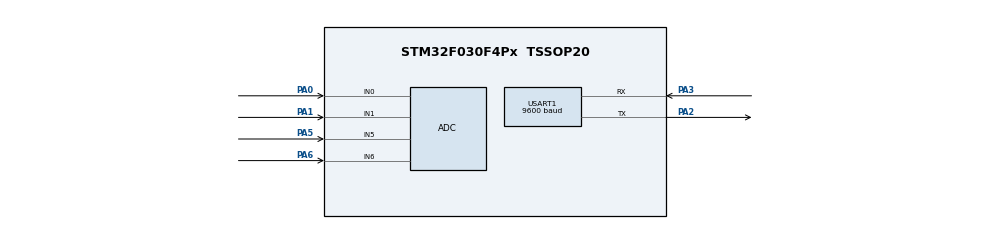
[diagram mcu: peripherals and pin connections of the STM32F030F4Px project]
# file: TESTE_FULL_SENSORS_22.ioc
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Mcu.Family=STM32F0
Mcu.Name=STM32F030F4Px
Mcu.Package=TSSOP20
NVIC.TIM14_IRQn=true\:0\:0\:false\:false\:true\:true\:true
NVIC.TIM16_IRQn=true\:0\:0\:false\:false\:true\:true\:true
PA0.Mode=IN0
PA0.Signal=ADC_IN0
PA1.Mode=IN1
PA1.Signal=ADC_IN1
PA13.Mode=Serial_Wire
PA13.Signal=SYS_SWDIO
PA14.Mode=Serial_Wire
PA14.Signal=SYS_SWCLK
PA2.Mode=Asynchronous
PA2.Signal=USART1_TX
PA3.Mode=Asynchronous
PA3.Signal=USART1_RX
PA5.Mode=IN5
PA5.Signal=ADC_IN5
PA6.Mode=IN6
PA6.Signal=ADC_IN6
ProjectManager.HeapSize=0x200
ProjectManager.StackSize=0x400
ProjectManager.TargetToolchain=STM32CubeIDE
TIM14.Period=99
TIM14.Prescaler=7999
TIM16.Period=99
TIM16.Prescaler=7999
USART1.BaudRate=9600
USART1.VirtualMode-Asynchronous=VM_ASYNC
VP_TIM14_VS_ClockSourceINT.Mode=Enable_Timer
VP_TIM16_VS_ClockSourceINT.Mode=Enable_Timer
board=custom

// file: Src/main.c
/* USER CODE BEGIN Header */
/**
  ******************************************************************************
  * @file           : main.c
  * @brief          : Main program body
  ******************************************************************************
  * @attention
  *
  * <h2><center>&copy; Copyright (c) 2019 STMicroelectronics.
  * All rights reserved.</center></h2>
  *
  * This software component is licensed by ST under BSD 3-Clause license,
  * the "License"; You may not use this file except in compliance with the
  * License. You may obtain a copy of the License at:
  *                        opensource.org/licenses/BSD-3-Clause
  *
  ******************************************************************************
  */
/* USER CODE END Header */

#include "main.h"
#include <stdio.h>
#include <string.h>

/* USER CODE BEGIN PD */
#define INIT_CHAR "&"
#define END_CHAR "\n"

/* USER CODE END PD */

ADC_HandleTypeDef hadc;

TIM_HandleTypeDef htim14;
TIM_HandleTypeDef htim16;

UART_HandleTypeDef huart1;

/* USER CODE BEGIN PV */
uint16_t mSec1 = 0;
uint16_t mSec2 = 0;
uint16_t setTimerCount1 = 0;
uint16_t setTimerCount2 = 0;
/* USER CODE END PV */

void SystemClock_Config(void);
static void MX_GPIO_Init(void);
static void MX_ADC_Init(void);
static void MX_TIM14_Init(void);
static void MX_TIM16_Init(void);
static void MX_USART1_UART_Init(void);
/* USER CODE BEGIN PFP */
uint16_t readv(uint16_t number);// Função Para leitura dos sensores
void sendData(u_int8_t *message,int size); // Função Para envio de dados via BT
char fastest_road(uint16_t v1, uint16_t v2); // Função que calcula a via mais rapida
/* USER CODE END PFP */

// Funções Timer
//void HAL_TIM_PeriodElapsedCallback(TIM_HandleTypeDef *htim14){}
//HAL_TIM_Base_Start_IT(&htim14);
//

// Estrutura de Montagem de msg
//char msg[6] = {(value1t/1000)%10 + 48, (value1t/100)%10 + 48, (value1t/10)%10 + 48 , value1t%10 + 48};
//sendData(msg,strlen(msg));
// HAL_TIM_Base_Stop_IT(&htim14);

int main(void)
{

  /* MCU Configuration--------------------------------------------------------*/

  /* Reset of all peripherals, Initializes the Flash interface and the Systick. */
  HAL_Init();

  /* Configure the system clock */
  SystemClock_Config();

  /* Initialize all configured peripherals */
  MX_GPIO_Init();
  MX_ADC_Init();
  MX_TIM14_Init();
  MX_TIM16_Init();
  MX_USART1_UART_Init();
  /* USER CODE BEGIN 2 */

  //sensores e vel via 1
  uint16_t sensor0 = 0;
  uint16_t sensor1 = 0;
  uint16_t vel1 = 0;

  //sensores e vel via 2
  uint16_t sensor6 = 0;
  uint16_t sensor5 = 0;
  uint16_t vel2 = 0;
  /* USER CODE END 2 */

  /* Infinite loop */
  /* USER CODE BEGIN WHILE */

  //Início do Clock
  HAL_TIM_Base_Start_IT(&htim14);

  while (1)
  {
    /* USER CODE END WHILE */
	  //Leitura da  Via 1
	  sensor0 = readv( (uint16_t) 0);
	  sensor1 = readv( (uint16_t) 1);
	  //Leitura da  Via 2
	  sensor6 = readv( (uint16_t) 6);
	  sensor5 = readv( (uint16_t) 5);

	  if(sensor0 > (uint16_t) 2700 ) {// Start CronoTrigger via 1
		  mSec1 = 0;
		  setTimerCount1 = 1;
	  }
	  if(sensor1 > (uint16_t) 2700 ) {// Stop CronoTrigger via 1 & envio de dados
		  setTimerCount1 = 0;

		  vel1 = (15000)/(mSec1);

		  char choice = fastest_road(vel1, vel2);

		  char msg[9] = {(vel1/10)%10 + 48, (vel1)%10 + 48, '|', (vel2/10)%10 + 48, (vel2)%10 + 48, '|', choice };
		  sendData(msg,strlen(msg));
		  //HAL_UART_Transmit(&huart1, (uint8_t *) msg,strlen(msg), 100);
		  HAL_Delay(500);
	  }

//-------------------------------------------------------------//

	  if(sensor6 > (uint16_t) 2700 ) {// Start CronoTrigger via 2
		  mSec2 = 0;
		  setTimerCount2 = 1;
	  }
	  if(sensor5 > (uint16_t) 2700 ) {// Stop CronoTrigger via 2 & envio de dados
		  setTimerCount2 = 0;

		  vel2 = (15000)/(mSec2);

		  char choice = fastest_road(vel1, vel2);

		  char msg[9] = {(vel1/10)%10 + 48, (vel1)%10 + 48, '|', (vel2/10)%10 + 48, (vel2)%10 + 48, '|', choice };
		  sendData(msg,strlen(msg));
		  //HAL_UART_Transmit(&huart1, (uint8_t *) msg,strlen(msg), 100);
		  HAL_Delay(500);
	  }

  }
}

// Função que calcula a via mais rapida
char fastest_road(uint16_t v1, uint16_t v2){
	char best_road;
	if (v1 > v2){
		best_road = '1';
	}
	else{
		best_road = '2';
	}

	return best_road;
}

// Função executada quando o Timer Termina um ciclo
void HAL_TIM_PeriodElapsedCallback(TIM_HandleTypeDef *htim14){
	if (setTimerCount1){
		mSec1 = mSec1 + 1;
	}
	if (setTimerCount2){
		mSec2 = mSec2 + 1;
	}

	//tBlock = tBlock + 1;
}

// Função Para leitura dos sensores
uint16_t readv(uint16_t number){
	ADC_ChannelConfTypeDef chConfig = {0};
	switch(number){
		case 0:
			chConfig.Channel = ADC_CHANNEL_0;
			break;
		case 1:
			chConfig.Channel = ADC_CHANNEL_1;
			break;
		case 5:
			chConfig.Channel = ADC_CHANNEL_5;
			break;
		case 6:
			chConfig.Channel = ADC_CHANNEL_6;
			break;
		default:
			break;
	}
    HAL_ADC_ConfigChannel(&hadc, &chConfig);
    HAL_ADC_Start(&hadc);
    uint16_t v = HAL_ADC_GetValue(&hadc);
    HAL_ADC_Stop(&hadc);
	chConfig.Rank = ADC_RANK_NONE;
	HAL_ADC_ConfigChannel(&hadc, &chConfig);
    return v;
}

// Função Para envio de dados via BT
void sendData(u_int8_t *message,int size) {
	HAL_UART_Transmit(&huart1, (uint8_t *) INIT_CHAR,sizeof(INIT_CHAR), 100);
	HAL_UART_Transmit(&huart1, (uint8_t *) message,size, 100);
	while(HAL_UART_GetState(&huart1) != HAL_UART_STATE_READY);
	HAL_UART_Transmit(&huart1, (uint8_t *) END_CHAR,sizeof(END_CHAR) + sizeof(INIT_CHAR), 100);
}
void SystemClock_Config(void)
{
  RCC_OscInitTypeDef RCC_OscInitStruct = {0};
  RCC_ClkInitTypeDef RCC_ClkInitStruct = {0};
  RCC_PeriphCLKInitTypeDef PeriphClkInit = {0};

  /** Initializes the CPU, AHB and APB busses clocks
  */
  RCC_OscInitStruct.OscillatorType = RCC_OSCILLATORTYPE_HSI|RCC_OSCILLATORTYPE_HSI14;
  RCC_OscInitStruct.HSIState = RCC_HSI_ON;
  RCC_OscInitStruct.HSI14State = RCC_HSI14_ON;
  RCC_OscInitStruct.HSICalibrationValue = RCC_HSICALIBRATION_DEFAULT;
  RCC_OscInitStruct.HSI14CalibrationValue = 16;
  RCC_OscInitStruct.PLL.PLLState = RCC_PLL_NONE;
  if (HAL_RCC_OscConfig(&RCC_OscInitStruct) != HAL_OK)
  {
    Error_Handler();
  }
  /** Initializes the CPU, AHB and APB busses clocks
  */
  RCC_ClkInitStruct.ClockType = RCC_CLOCKTYPE_HCLK|RCC_CLOCKTYPE_SYSCLK
                              |RCC_CLOCKTYPE_PCLK1;
  RCC_ClkInitStruct.SYSCLKSource = RCC_SYSCLKSOURCE_HSI;
  RCC_ClkInitStruct.AHBCLKDivider = RCC_SYSCLK_DIV1;
  RCC_ClkInitStruct.APB1CLKDivider = RCC_HCLK_DIV1;

  if (HAL_RCC_ClockConfig(&RCC_ClkInitStruct, FLASH_LATENCY_0) != HAL_OK)
  {
    Error_Handler();
  }
  PeriphClkInit.PeriphClockSelection = RCC_PERIPHCLK_USART1;
  PeriphClkInit.Usart1ClockSelection = RCC_USART1CLKSOURCE_PCLK1;
  if (HAL_RCCEx_PeriphCLKConfig(&PeriphClkInit) != HAL_OK)
  {
    Error_Handler();
  }
}

static void MX_ADC_Init(void)
{

  ADC_ChannelConfTypeDef sConfig = {0};

  /** Configure the global features of the ADC (Clock, Resolution, Data Alignment and number of conversion)
  */
  hadc.Instance = ADC1;
  hadc.Init.ClockPrescaler = ADC_CLOCK_ASYNC_DIV1;
  hadc.Init.Resolution = ADC_RESOLUTION_12B;
  hadc.Init.DataAlign = ADC_DATAALIGN_RIGHT;
  hadc.Init.ScanConvMode = ADC_SCAN_DIRECTION_FORWARD;
  hadc.Init.EOCSelection = ADC_EOC_SINGLE_CONV;
  hadc.Init.LowPowerAutoWait = DISABLE;
  hadc.Init.LowPowerAutoPowerOff = DISABLE;
  hadc.Init.ContinuousConvMode = DISABLE;
  hadc.Init.DiscontinuousConvMode = DISABLE;
  hadc.Init.ExternalTrigConv = ADC_SOFTWARE_START;
  hadc.Init.ExternalTrigConvEdge = ADC_EXTERNALTRIGCONVEDGE_NONE;
  hadc.Init.DMAContinuousRequests = DISABLE;
  hadc.Init.Overrun = ADC_OVR_DATA_PRESERVED;
  if (HAL_ADC_Init(&hadc) != HAL_OK)
  {
    Error_Handler();
  }
  /** Configure for the selected ADC regular channel to be converted.
  */
  sConfig.Channel = ADC_CHANNEL_0;
  sConfig.Rank = ADC_RANK_CHANNEL_NUMBER;
  sConfig.SamplingTime = ADC_SAMPLETIME_1CYCLE_5;
  if (HAL_ADC_ConfigChannel(&hadc, &sConfig) != HAL_OK)
  {
    Error_Handler();
  }
  /** Configure for the selected ADC regular channel to be converted.
  */
  sConfig.Channel = ADC_CHANNEL_1;
  if (HAL_ADC_ConfigChannel(&hadc, &sConfig) != HAL_OK)
  {
    Error_Handler();
  }
  /** Configure for the selected ADC regular channel to be converted.
  */
  sConfig.Channel = ADC_CHANNEL_5;
  if (HAL_ADC_ConfigChannel(&hadc, &sConfig) != HAL_OK)
  {
    Error_Handler();
  }
  /** Configure for the selected ADC regular channel to be converted.
  */
  sConfig.Channel = ADC_CHANNEL_6;
  if (HAL_ADC_ConfigChannel(&hadc, &sConfig) != HAL_OK)
  {
    Error_Handler();
  }

}

static void MX_TIM14_Init(void)
{

  htim14.Instance = TIM14;
  htim14.Init.Prescaler = 79;
  htim14.Init.CounterMode = TIM_COUNTERMODE_UP;
  htim14.Init.Period = 99;
  htim14.Init.ClockDivision = TIM_CLOCKDIVISION_DIV1;
  htim14.Init.AutoReloadPreload = TIM_AUTORELOAD_PRELOAD_DISABLE;
  if (HAL_TIM_Base_Init(&htim14) != HAL_OK)
  {
    Error_Handler();
  }

}

static void MX_TIM16_Init(void)
{

  htim16.Instance = TIM16;
  htim16.Init.Prescaler = 7999;
  htim16.Init.CounterMode = TIM_COUNTERMODE_UP;
  htim16.Init.Period = 99;
  htim16.Init.ClockDivision = TIM_CLOCKDIVISION_DIV1;
  htim16.Init.RepetitionCounter = 0;
  htim16.Init.AutoReloadPreload = TIM_AUTORELOAD_PRELOAD_DISABLE;
  if (HAL_TIM_Base_Init(&htim16) != HAL_OK)
  {
    Error_Handler();
  }

}

static void MX_USART1_UART_Init(void)
{

  huart1.Instance = USART1;
  huart1.Init.BaudRate = 9600;
  huart1.Init.WordLength = UART_WORDLENGTH_8B;
  huart1.Init.StopBits = UART_STOPBITS_1;
  huart1.Init.Parity = UART_PARITY_NONE;
  huart1.Init.Mode = UART_MODE_TX_RX;
  huart1.Init.HwFlowCtl = UART_HWCONTROL_NONE;
  huart1.Init.OverSampling = UART_OVERSAMPLING_16;
  huart1.Init.OneBitSampling = UART_ONE_BIT_SAMPLE_DISABLE;
  huart1.AdvancedInit.AdvFeatureInit = UART_ADVFEATURE_NO_INIT;
  if (HAL_UART_Init(&huart1) != HAL_OK)
  {
    Error_Handler();
  }

}

static void MX_GPIO_Init(void)
{

  /* GPIO Ports Clock Enable */
  __HAL_RCC_GPIOA_CLK_ENABLE();

}

void Error_Handler(void)
{
}

/************************ (C) COPYRIGHT STMicroelectronics *****END OF FILE****/
